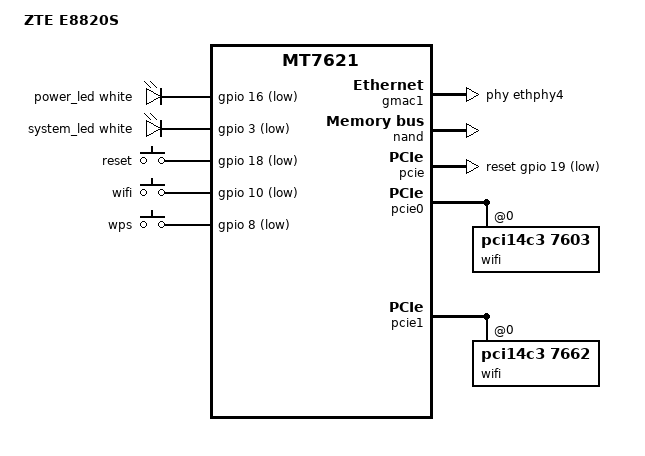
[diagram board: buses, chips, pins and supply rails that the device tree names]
// SPDX-License-Identifier: GPL-2.0-or-later OR MIT

#include "mt7621.dtsi"

#include <dt-bindings/gpio/gpio.h>
#include <dt-bindings/input/input.h>
#include <dt-bindings/leds/common.h>

/ {
	compatible = "zte,e8820s", "mediatek,mt7621-soc";
	model = "ZTE E8820S";

	aliases {
		led-boot = &power_led;
		led-failsafe = &system_led;
		led-running = &system_led;
		led-upgrade = &system_led;
		label-mac-device = &gmac1;
	};

	chosen {
		bootargs = "console=ttyS0,115200";
	};

	gpio-leds {
		compatible = "gpio-leds";

		power_led: led-power {
			function = LED_FUNCTION_POWER;
			color = <LED_COLOR_ID_WHITE>;
			gpios = <&gpio 16 GPIO_ACTIVE_LOW>;
		};

		system_led: led-system {
			function = LED_FUNCTION_STATUS;
			color = <LED_COLOR_ID_WHITE>;
			gpios = <&gpio 3 GPIO_ACTIVE_LOW>;
		};
	};

	gpio-keys {
		compatible = "gpio-keys";

		button-reset {
			label = "reset";
			gpios = <&gpio 18 GPIO_ACTIVE_LOW>;
			linux,code = <KEY_RESTART>;
		};

		button-wifi {
			label = "wifi";
			gpios = <&gpio 10 GPIO_ACTIVE_LOW>;
			linux,code = <KEY_RFKILL>;
		};

		button-wps {
			label = "wps";
			gpios = <&gpio 8 GPIO_ACTIVE_LOW>;
			linux,code = <KEY_WPS_BUTTON>;
		};
	};
  ubi-concat {
		compatible = "mtd-concat";
		devices = <&ubiconcat0 &ubiconcat1>;

		partitions {
			compatible = "fixed-partitions";
			#address-cells = <1>;
			#size-cells = <1>;

			partition@0 {
				label = "ubi";
				reg = <0x0 0x79c0000>;
			};
		};
	};
};

&ethphy4 {
	/delete-property/ interrupts;
};

&gmac0 {
	nvmem-cells = <&macaddr_factory_e000>;
	nvmem-cell-names = "mac-address";
};

&gmac1 {
	status = "okay";
	label = "wan";
	phy-handle = <&ethphy4>;

	nvmem-cells = <&macaddr_factory_e006>;
	nvmem-cell-names = "mac-address";
};

&nand {
	status = "okay";

	partitions {
		compatible = "fixed-partitions";
		#address-cells = <1>;
		#size-cells = <1>;

		partition@0 {
			label = "u-boot";
			reg = <0x0 0x80000>;
			read-only;
		};

		partition@80000 {
			label = "debug";
			reg = <0x80000 0x80000>;
			read-only;
		};

		factory: partition@100000 {
			label = "factory";
			reg = <0x100000 0x40000>;
			read-only;
		};

		partition@140000 {
			label = "kernel";
			reg = <0x140000 0x400000>;
		};

		ubiconcat0: partition@540000 {
			label = "ubiconcat0";
			reg = <0x540000 0x1c80000>;
		};

		partition@21c0000 {
			label = "bdinfo";
			reg = <0x21c0000 0x80000>;
			read-only;
		};

		ubiconcat1: partition@2240000 {
			label = "ubiconcat1";
			reg = <0x2240000 0x5d40000>;
		};
	};
};

&pcie {
	reset-gpios = <&gpio 19 GPIO_ACTIVE_LOW>,
		      <&gpio 4 GPIO_ACTIVE_LOW>;
	status = "okay";
};

&pcie0 {
	wifi@0,0 {
		compatible = "pci14c3,7603";
		reg = <0x0000 0 0 0 0>;
		nvmem-cells = <&eeprom_factory_f000>, <&macaddr_config_12 0>;
		nvmem-cell-names = "eeprom", "mac-address";
		ieee80211-freq-limit = <2400000 2500000>;

		led {
			led-active-low;
		};
	};
};

&pcie1 {
	wifi@0,0 {
		compatible = "pci14c3,7662";
		reg = <0x0000 0 0 0 0>;
		nvmem-cells = <&eeprom_factory_f800>, <&macaddr_config_12 1>;
		nvmem-cell-names = "eeprom", "mac-address";
		ieee80211-freq-limit = <5000000 6000000>;

		led {
			led-active-low;
			led-sources = <2>;
		};
	};
};

&switch0 {
	ports {
		port@0 {
			status = "okay";
			label = "lan1";
		};

		port@1 {
			status = "okay";
			label = "lan2";
		};

		port@2 {
			status = "okay";
			label = "lan3";
		};

		port@3 {
			status = "okay";
			label = "lan4";
		};
	};
};

&state_default {
	gpio {
		groups = "jtag", "uart2", "uart3", "wdt";
		function = "gpio";
	};
};
